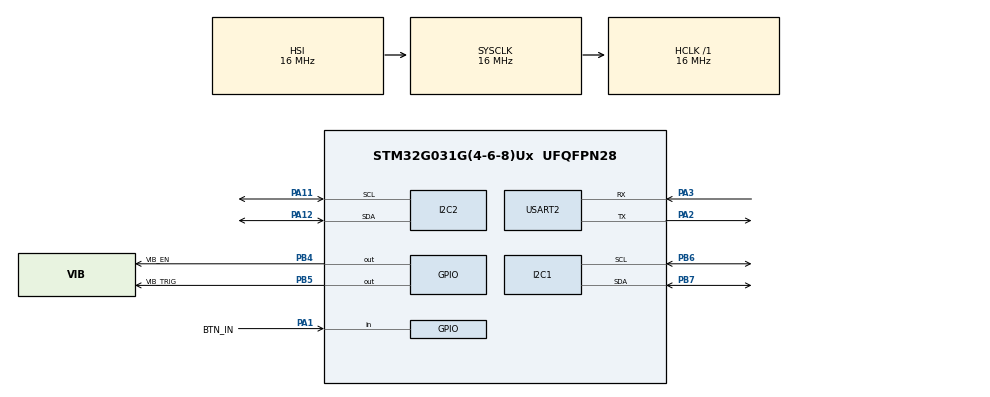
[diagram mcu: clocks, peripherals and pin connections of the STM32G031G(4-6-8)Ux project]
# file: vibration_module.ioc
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I2C1.Timing=0x00503D58
I2C2.GeneralCallMode=I2C_GENERALCALL_ENABLE
I2C2.OwnAddress=1
I2C2.Timing=0x00503D58
Mcu.Family=STM32G0
Mcu.Name=STM32G031G(4-6-8)Ux
Mcu.Package=UFQFPN28
NVIC.I2C1_IRQn=true\:0\:0\:false\:false\:true\:true\:true\:true
NVIC.I2C2_IRQn=true\:0\:0\:false\:false\:true\:true\:true\:true
PA1.GPIO_Label=BTN_IN
PA1.GPIO_PuPd=GPIO_PULLUP
PA1.Signal=GPIO_Input
PA11\ [PA9].Mode=I2C
PA11\ [PA9].Signal=I2C2_SCL
PA12\ [PA10].Mode=I2C
PA12\ [PA10].Signal=I2C2_SDA
PA13.Mode=Serial_Wire
PA13.Signal=SYS_SWDIO
PA14-BOOT0.Mode=Serial_Wire
PA14-BOOT0.Signal=SYS_SWCLK
PA2.Mode=Asynchronous
PA2.Signal=USART2_TX
PA3.Mode=Asynchronous
PA3.Signal=USART2_RX
PB4.GPIO_Label=VIB_EN
PB4.Signal=GPIO_Output
PB5.GPIO_Label=VIB_TRIG
PB5.Signal=GPIO_Output
PB6.GPIO_Pu=GPIO_PULLUP
PB6.Mode=I2C
PB6.Signal=I2C1_SCL
PB7.GPIO_Pu=GPIO_PULLUP
PB7.Mode=I2C
PB7.Signal=I2C1_SDA
ProjectManager.HeapSize=0x200
ProjectManager.StackSize=0x400
ProjectManager.TargetToolchain=CMake
RCC.ADCFreq_Value=16000000
RCC.AHBFreq_Value=16000000
RCC.CortexFreq_Value=16000000
RCC.EXTERNAL_CLOCK_VALUE=12288000
RCC.HCLKFreq_Value=16000000
RCC.HSE_VALUE=8000000
RCC.HSI_VALUE=16000000
RCC.LSE_VALUE=32768
RCC.SYSCLKFreq_VALUE=16000000
RCC.VCOOutputFreq_Value=128000000
USART2.VirtualMode-Asynchronous=VM_ASYNC
board=custom

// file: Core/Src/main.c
/* USER CODE BEGIN Header */
/**
 ******************************************************************************
 * @file           : main.c
 * @brief          : Main program body
 ******************************************************************************
 * @attention
 *
 * Copyright (c) 2025 STMicroelectronics.
 * All rights reserved.
 *
 * This software is licensed under terms that can be found in the LICENSE file
 * in the root directory of this software component.
 * If no LICENSE file comes with this software, it is provided AS-IS.
 *
 ******************************************************************************
 */
/* USER CODE END Header */
#include "main.h"

/* USER CODE BEGIN Includes */
#include <stdint.h>
#include <stdbool.h>
#include <stdio.h>
#include "drv2605.h"
#include "host_protocol.h"
/* USER CODE END Includes */

I2C_HandleTypeDef hi2c1;
I2C_HandleTypeDef hi2c2;

UART_HandleTypeDef huart2;

void SystemClock_Config(void);
static void MX_GPIO_Init(void);
static void MX_I2C1_Init(void);
static void MX_I2C2_Init(void);
static void MX_USART2_UART_Init(void);

/* USER CODE BEGIN 0 */
#if defined(SEMIHOSTING_ENABLED)
extern void initialise_monitor_handles(void);

static inline void semihost_init(void) {
  initialise_monitor_handles();
}

static inline void semihost_log(const char *message) {
  puts(message);
}
#else
static inline void semihost_init(void) {}

static inline void semihost_log(const char *message) {
  (void)message;
}
#endif

static bool vib_playing = false;
static uint32_t vib_started_at = 0U;
static const uint8_t button_pattern[] = {DRV2605_EFFECT_STRONG_CLICK_100};
static const uint8_t button_pattern_length = (uint8_t)sizeof(button_pattern);

static bool btn_is_pressed(void) {
  return HAL_GPIO_ReadPin(BTN_IN_GPIO_Port, BTN_IN_Pin) == GPIO_PIN_RESET;
}

static void start_vibration(const uint8_t *effects, uint8_t length) {
  if (effects == NULL || length == 0U) {
    return;
  }
  drv2605_load_sequence(effects, length);
  drv2605_play();
  vib_playing = true;
  vib_started_at = HAL_GetTick();
}

/* USER CODE END 0 */

int main(void)
{

  /* MCU Configuration--------------------------------------------------------*/

  /* Reset of all peripherals, Initializes the Flash interface and the Systick. */
  HAL_Init();

  /* Configure the system clock */
  SystemClock_Config();

  /* Initialize all configured peripherals */
  MX_GPIO_Init();
  MX_I2C1_Init();
  MX_I2C2_Init();
  MX_USART2_UART_Init();
  /* USER CODE BEGIN 2 */
  semihost_init();
  semihost_log("Hello from semihosting!");
  const drv2605_config_t drv2605_config = {
      .hi2c = &hi2c1,
      .enable_port = VIB_EN_GPIO_Port,
      .enable_pin = VIB_EN_Pin,
  };
  drv2605_init(&drv2605_config);
  host_if_init(&hi2c2);
  const uint32_t playback_timeout_ms = 1000U;
  const uint32_t button_poll_interval_ms = 5U;
  const uint32_t button_debounce_ms = 20U;

  bool btn_state = btn_is_pressed();
  bool btn_latched = btn_state;
  uint32_t btn_last_change = HAL_GetTick();
  /* USER CODE END 2 */

  /* Infinite loop */
  while (1) {

    /* USER CODE BEGIN 3 */
    bool current_state = btn_is_pressed();
    if (current_state != btn_state) {
      btn_state = current_state;
      btn_last_change = HAL_GetTick();
    }

    bool stable_pressed =
        btn_state && (HAL_GetTick() - btn_last_change) >= button_debounce_ms;

    if (!stable_pressed) {
      btn_latched = false;
    }

    bool stop_requested = host_if_take_stop_request();
    if (stop_requested && vib_playing) {
      semihost_log("Host stop request received. Stopping vibration.");
      drv2605_stop();
      vib_playing = false;
    }

    if (vib_playing) {
      bool driver_busy = drv2605_is_busy();
      bool timed_out = (HAL_GetTick() - vib_started_at) >= playback_timeout_ms;
      if (!driver_busy || timed_out) {
        if (timed_out) {
          semihost_log("Vibration timeout hit. Forcing stop.");
          drv2605_stop();
        }
        vib_playing = false;
      }
    } else {
      host_if_pattern_t host_pattern;
      if (host_if_take_play_request(&host_pattern)) {
        semihost_log("Host pattern received. Triggering vibration.");
        start_vibration(host_pattern.effects, host_pattern.length);
      } else if (stable_pressed && !btn_latched) {
        semihost_log("Button press detected. Triggering vibration.");
        start_vibration(button_pattern, button_pattern_length);
        btn_latched = true;
      }
    }

    host_if_update_runtime_state(stable_pressed, vib_playing);
    HAL_Delay(button_poll_interval_ms);
  }
  /* USER CODE END 3 */
}

void SystemClock_Config(void)
{
  RCC_OscInitTypeDef RCC_OscInitStruct = {0};
  RCC_ClkInitTypeDef RCC_ClkInitStruct = {0};

  /** Configure the main internal regulator output voltage
  */
  HAL_PWREx_ControlVoltageScaling(PWR_REGULATOR_VOLTAGE_SCALE1);

  /** Initializes the RCC Oscillators according to the specified parameters
  * in the RCC_OscInitTypeDef structure.
  */
  RCC_OscInitStruct.OscillatorType = RCC_OSCILLATORTYPE_HSI;
  RCC_OscInitStruct.HSIState = RCC_HSI_ON;
  RCC_OscInitStruct.HSIDiv = RCC_HSI_DIV1;
  RCC_OscInitStruct.HSICalibrationValue = RCC_HSICALIBRATION_DEFAULT;
  RCC_OscInitStruct.PLL.PLLState = RCC_PLL_NONE;
  if (HAL_RCC_OscConfig(&RCC_OscInitStruct) != HAL_OK)
  {
    Error_Handler();
  }

  /** Initializes the CPU, AHB and APB buses clocks
  */
  RCC_ClkInitStruct.ClockType = RCC_CLOCKTYPE_HCLK|RCC_CLOCKTYPE_SYSCLK
                              |RCC_CLOCKTYPE_PCLK1;
  RCC_ClkInitStruct.SYSCLKSource = RCC_SYSCLKSOURCE_HSI;
  RCC_ClkInitStruct.AHBCLKDivider = RCC_SYSCLK_DIV1;
  RCC_ClkInitStruct.APB1CLKDivider = RCC_HCLK_DIV1;

  if (HAL_RCC_ClockConfig(&RCC_ClkInitStruct, FLASH_LATENCY_0) != HAL_OK)
  {
    Error_Handler();
  }
}

static void MX_I2C1_Init(void)
{

  hi2c1.Instance = I2C1;
  hi2c1.Init.Timing = 0x00503D58;
  hi2c1.Init.OwnAddress1 = 0;
  hi2c1.Init.AddressingMode = I2C_ADDRESSINGMODE_7BIT;
  hi2c1.Init.DualAddressMode = I2C_DUALADDRESS_DISABLE;
  hi2c1.Init.OwnAddress2 = 0;
  hi2c1.Init.OwnAddress2Masks = I2C_OA2_NOMASK;
  hi2c1.Init.GeneralCallMode = I2C_GENERALCALL_DISABLE;
  hi2c1.Init.NoStretchMode = I2C_NOSTRETCH_DISABLE;
  if (HAL_I2C_Init(&hi2c1) != HAL_OK)
  {
    Error_Handler();
  }

  /** Configure Analogue filter
  */
  if (HAL_I2CEx_ConfigAnalogFilter(&hi2c1, I2C_ANALOGFILTER_ENABLE) != HAL_OK)
  {
    Error_Handler();
  }

  /** Configure Digital filter
  */
  if (HAL_I2CEx_ConfigDigitalFilter(&hi2c1, 0) != HAL_OK)
  {
    Error_Handler();
  }

}

static void MX_I2C2_Init(void)
{

  hi2c2.Instance = I2C2;
  hi2c2.Init.Timing = 0x00503D58;
  hi2c2.Init.OwnAddress1 = (uint32_t)(HOST_IF_I2C_ADDRESS << 1);
  hi2c2.Init.AddressingMode = I2C_ADDRESSINGMODE_7BIT;
  hi2c2.Init.DualAddressMode = I2C_DUALADDRESS_DISABLE;
  hi2c2.Init.OwnAddress2 = 0;
  hi2c2.Init.OwnAddress2Masks = I2C_OA2_NOMASK;
  hi2c2.Init.GeneralCallMode = I2C_GENERALCALL_ENABLE;
  hi2c2.Init.NoStretchMode = I2C_NOSTRETCH_DISABLE;
  if (HAL_I2C_Init(&hi2c2) != HAL_OK)
  {
    Error_Handler();
  }

  /** Configure Analogue filter
  */
  if (HAL_I2CEx_ConfigAnalogFilter(&hi2c2, I2C_ANALOGFILTER_ENABLE) != HAL_OK)
  {
    Error_Handler();
  }

  /** Configure Digital filter
  */
  if (HAL_I2CEx_ConfigDigitalFilter(&hi2c2, 0) != HAL_OK)
  {
    Error_Handler();
  }

}

static void MX_USART2_UART_Init(void)
{

  huart2.Instance = USART2;
  huart2.Init.BaudRate = 115200;
  huart2.Init.WordLength = UART_WORDLENGTH_8B;
  huart2.Init.StopBits = UART_STOPBITS_1;
  huart2.Init.Parity = UART_PARITY_NONE;
  huart2.Init.Mode = UART_MODE_TX_RX;
  huart2.Init.HwFlowCtl = UART_HWCONTROL_NONE;
  huart2.Init.OverSampling = UART_OVERSAMPLING_16;
  huart2.Init.OneBitSampling = UART_ONE_BIT_SAMPLE_DISABLE;
  huart2.Init.ClockPrescaler = UART_PRESCALER_DIV1;
  huart2.AdvancedInit.AdvFeatureInit = UART_ADVFEATURE_NO_INIT;
  if (HAL_UART_Init(&huart2) != HAL_OK)
  {
    Error_Handler();
  }

}

static void MX_GPIO_Init(void)
{
  GPIO_InitTypeDef GPIO_InitStruct = {0};

  /* GPIO Ports Clock Enable */
  __HAL_RCC_GPIOA_CLK_ENABLE();
  __HAL_RCC_GPIOB_CLK_ENABLE();

  /*Configure GPIO pin Output Level */
  HAL_GPIO_WritePin(GPIOB, VIB_EN_Pin|VIB_TRIG_Pin, GPIO_PIN_RESET);

  /*Configure GPIO pin : BTN_IN_Pin */
  GPIO_InitStruct.Pin = BTN_IN_Pin;
  GPIO_InitStruct.Mode = GPIO_MODE_INPUT;
  GPIO_InitStruct.Pull = GPIO_PULLUP;
  HAL_GPIO_Init(BTN_IN_GPIO_Port, &GPIO_InitStruct);

  /*Configure GPIO pins : VIB_EN_Pin VIB_TRIG_Pin */
  GPIO_InitStruct.Pin = VIB_EN_Pin|VIB_TRIG_Pin;
  GPIO_InitStruct.Mode = GPIO_MODE_OUTPUT_PP;
  GPIO_InitStruct.Pull = GPIO_NOPULL;
  GPIO_InitStruct.Speed = GPIO_SPEED_FREQ_LOW;
  HAL_GPIO_Init(GPIOB, &GPIO_InitStruct);

}

void Error_Handler(void)
{
  __disable_irq();
  while (1) {
  }
}
#ifdef USE_FULL_ASSERT
/**
  * @brief  Reports the name of the source file and the source line number
  *         where the assert_param error has occurred.
  * @param  file: pointer to the source file name
  * @param  line: assert_param error line source number
  * @retval None
  */
void assert_failed(uint8_t *file, uint32_t line)
{
  /* USER CODE BEGIN 6 */
  /* User can add his own implementation to report the file name and line
     number, ex: printf("Wrong parameters value: file %s on line %d\r\n", file,
     line) */
  /* USER CODE END 6 */
}
#endif /* USE_FULL_ASSERT */
